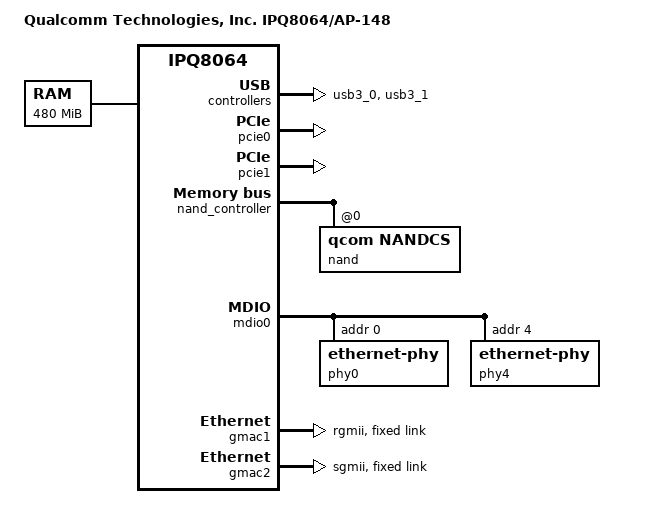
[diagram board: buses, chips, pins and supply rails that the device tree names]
#include "qcom-ipq8064-v1.0.dtsi"

/ {
	model = "Qualcomm Technologies, Inc. IPQ8064/AP-148";
	compatible = "qcom,ipq8064-ap148", "qcom,ipq8064";

	memory@0 {
		reg = <0x42000000 0x1e000000>;
		device_type = "memory";
	};

	reserved-memory {
		#address-cells = <1>;
		#size-cells = <1>;
		ranges;
		rsvd@41200000 {
			reg = <0x41200000 0x300000>;
			no-map;
		};
	};

	aliases {
		mdio-gpio0 = &mdio0;
	};
};

&adm_dma {
	status = "okay";
};

&flash {
	partitions {
		compatible = "qcom,smem";
	};
};

&usb3_0 {
	status = "okay";
};

&usb3_1 {
	status = "okay";
};

&pcie0 {
	status = "okay";
};

&pcie1 {
	status = "okay";
	max-link-speed = <1>;
};

&nand_controller {
	status = "okay";

	pinctrl-0 = <&nand_pins>;
	pinctrl-names = "default";

	nand@0 {
		reg = <0>;
		compatible = "qcom,nandcs";

		nand-ecc-strength = <4>;
		nand-bus-width = <8>;
		nand-ecc-step-size = <512>;

		partitions {
			compatible = "qcom,smem";
		};
	};
};

&mdio0 {
	status = "okay";

	pinctrl-0 = <&mdio0_pins>;
	pinctrl-names = "default";

	phy0: ethernet-phy@0 {
		reg = <0>;
		qca,ar8327-initvals = <
			0x00004 0x7600000   /* PAD0_MODE */
			0x00008 0x1000000   /* PAD5_MODE */
			0x0000c 0x80        /* PAD6_MODE */
			0x000e4 0x6a545     /* MAC_POWER_SEL */
			0x000e0 0xc74164de  /* SGMII_CTRL */
			0x0007c 0x4e        /* PORT0_STATUS */
			0x00094 0x4e        /* PORT6_STATUS */
			>;
	};

	phy4: ethernet-phy@4 {
		reg = <4>;
	};
};

&gmac1 {
	status = "okay";
	phy-mode = "rgmii";
	qcom,id = <1>;

	pinctrl-0 = <&rgmii2_pins>;
	pinctrl-names = "default";

	fixed-link {
		speed = <1000>;
		full-duplex;
	};
};

&gmac2 {
	status = "okay";
	phy-mode = "sgmii";
	qcom,id = <2>;

	fixed-link {
		speed = <1000>;
		full-duplex;
	};
};
